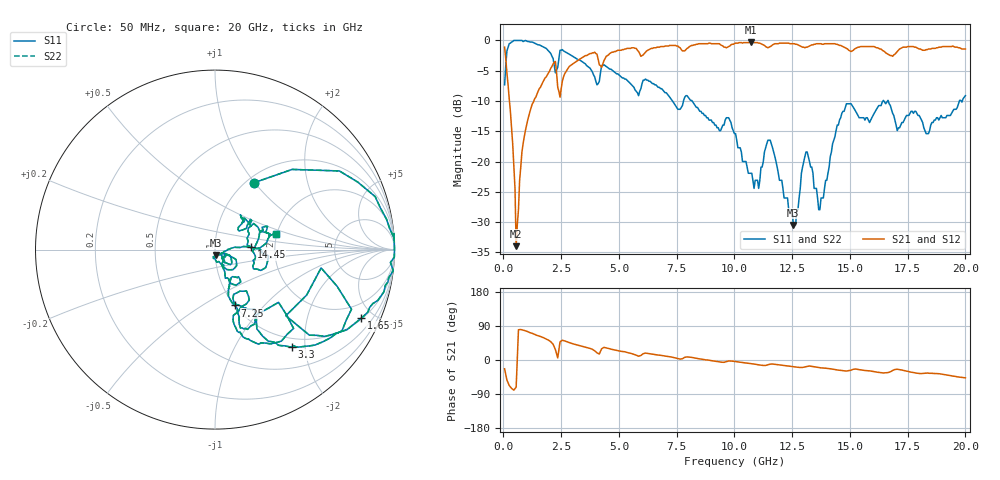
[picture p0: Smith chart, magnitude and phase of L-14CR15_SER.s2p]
#	mhz	s	ma	r	50
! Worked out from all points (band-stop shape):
!   400 points, 50 MHz to 20 GHz, reference 50 ohm
!   highest |S21| = -0.26 dB at 10.7 GHz (marker M1); lowest = -34.0 dB at 550 MHz (marker M2)
!   |S21| within 3 dB of the highest: 3.234 GHz to 4.109 GHz (875.5 MHz wide, 23.8 % of centre); 4.361 GHz to end of sweep (the widest 2 of 3)
!   lowest |S11| = -30.5 dB at 12.55 GHz (marker M3), VSWR 1.06, Z = 50.2 - j3 ohm
!   |S11| at or under -10 dB: 7.319 GHz to 7.794 GHz (475.3 MHz wide, 6.29 % of centre); 8.169 GHz to 16.43 GHz (8.263 GHz wide, 67.2 % of centre); 16.66 GHz to 19.74 GHz (3.082 GHz wide, 16.9 % of centre) (the widest 3 of 5)
!   |S22| runs from -30.5 to 0.0 dB; largest |S21 - S12| = 0
!   S11 on the Smith chart (normalised r, x): 50 MHz: 1.08, +0.99; 1.65 GHz: 1.05, -4.23; 3.3 GHz: 0.84, -1.74; 7.25 GHz: 1.00, -0.70; 14.45 GHz: 1.50, +0.04; 20 GHz: 1.98, +0.39
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50  0.43 59.9  0.88 -23.2  0.88 -23.2  0.43 59.9
250  0.94 18.3  0.33 -67.2  0.33 -67.2  0.94 18.3
500  1 4.4  0.06 -75.5  0.06 -75.5  1 4.4
550  1 5.1  0.02 -71.7  0.02 -71.7  1 5.1
850  0.98 -4.2  0.14 79.0  0.14 79.0  0.98 -4.2
1650  0.9 -25.2  0.43 60.8  0.43 60.8  0.9 -25.2
2150  0.71 -42.2  0.64 41.6  0.64 41.6  0.71 -42.2
2350  0.6 -9.8  0.41 5.5  0.41 5.5  0.6 -9.8
3300  0.69 -51.8  0.7 38.1  0.7 38.1  0.69 -51.8
3400  0.67 -53.5  0.72 36.6  0.72 36.6  0.67 -53.5
6700  0.41 -71.0  0.88 13.0  0.88 13.0  0.41 -71.0
7250  0.33 -70.6  0.91 8.1  0.91 8.1  0.33 -70.6
10050  0.17 -70.2  0.95 -4.2  0.95 -4.2  0.17 -70.2
10700  0.08 -50.4  0.97 -9.5  0.97 -9.5  0.08 -50.4
11550  0.15 -47.9  0.89 -10.9  0.89 -10.9  0.15 -47.9
12550  0.03 -84.1  0.94 -17.8  0.94 -17.8  0.03 -84.1
13350  0.09 -54.4  0.92 -16.9  0.92 -16.9  0.09 -54.4
13700  0.04 -28.1  0.94 -20.4  0.94 -20.4  0.04 -28.1
14450  0.2 3.6  0.93 -26.3  0.93 -26.3  0.2 3.6
16700  0.3 11.2  0.76 -32.2  0.76 -32.2  0.3 11.2
18400  0.17 41.0  0.85 -34.8  0.85 -34.8  0.17 41.0
20000  0.35 14.2  0.85 -47.1  0.85 -47.1  0.35 14.2
